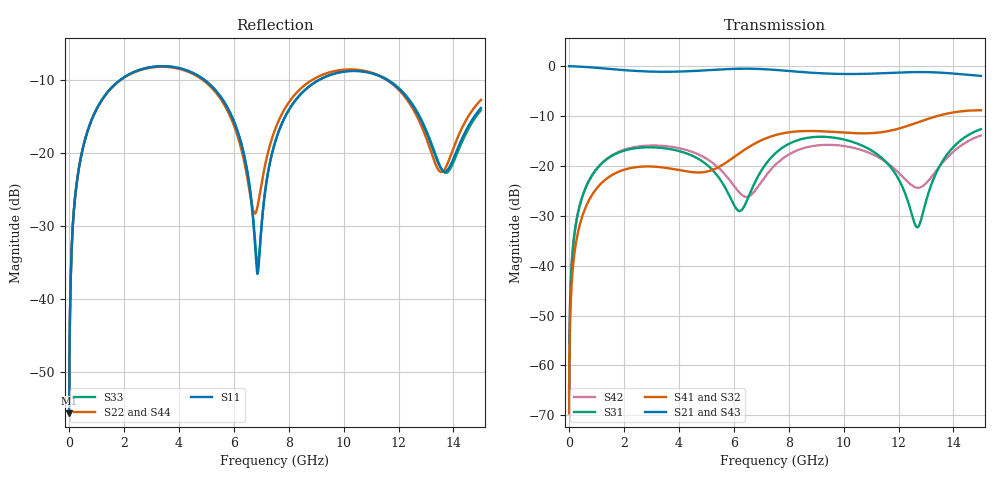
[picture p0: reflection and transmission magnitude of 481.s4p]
! Created with skrf 1.8.0 (http://scikit-rf.org).
# GHz S RI R 50.0
!freq ReS11 ImS11 ReS12 ImS12 ReS13 ImS13
! ReS14 ImS14
! ReS21 ImS21 ReS22 ImS22 ReS23 ImS23
! ReS24 ImS24
! ReS31 ImS31 ReS32 ImS32 ReS33 ImS33
! ReS34 ImS34
! ReS41 ImS41 ReS42 ImS42 ReS43 ImS43
! ReS44 ImS44
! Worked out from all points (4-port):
!   2499 points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, 5 MHz to 15 GHz, reference 50 ohm
!   strongest paths, dB at 5 MHz, 3.476 GHz, 7.19 GHz, 11.1 GHz, 15 GHz:
!     S21: 0.0, -1.1, -0.6, -1.5, -2.0
!     S43: 0.0, -1.1, -0.6, -1.5, -1.9
!     S41: -69.6, -20.4, -14.4, -13.4, -8.8
!     S32: -69.6, -20.3, -14.4, -13.4, -8.8
!     S31: -65.6, -16.5, -19.5, -17.2, -12.6
!     S42: -65.6, -16.0, -21.8, -17.8, -13.9
!   lowest |S11| = -55.6 dB at 5 MHz (marker M1), VSWR 1.00, Z = 50.1 + j0.101 ohm
!   |S11| at or under -10 dB: start of sweep to 1.845 GHz; 4.952 GHz to 9.075 GHz (4.122 GHz wide, 58.8 % of centre); 11.61 GHz to end of sweep
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0.005  0.00132 0.001  0.9987 -0.00257  6.52e-05 0.00052  -6.34e-05 -0.000326
       0.9987 -0.00257  0.00132 0.001  -6.34e-05 -0.000326  6.53e-05 0.00052
       6.52e-05 0.00052  -6.34e-05 -0.000326  0.00132 0.001  0.9987 -0.00257
       -6.34e-05 -0.000326  6.53e-05 0.00052  0.9987 -0.00257  0.00132 0.001
0.4126719  0.0254 0.0861  0.9649 -0.2096  0.0116 0.0405  -0.00998 -0.025
           0.9649 -0.2096  0.0253 0.0861  -0.00998 -0.025  0.0124 0.0403
           0.0116 0.0405  -0.00998 -0.025  0.0254 0.0861  0.9649 -0.2096
           -0.00998 -0.025  0.0124 0.0403  0.9649 -0.2096  0.0253 0.0861
2.025844  0.286 0.1725  0.5173 -0.7492  0.1277 0.0638  -0.0919 -0.000765
          0.5173 -0.7492  0.2828 0.1747  -0.0919 -0.000716  0.1373 0.0495
          0.1277 0.0638  -0.0919 -0.000716  0.2861 0.1726  0.5172 -0.7493
          -0.0919 -0.000765  0.1373 0.0495  0.5172 -0.7493  0.2829 0.1747
6.790329  0.0147 -0.0152  -0.9366 -0.0727  0.0471 0.0518  -0.0097 0.1685
          -0.9366 -0.0727  0.0388 0.00252  -0.00856 0.1684  -0.0408 0.0402
          0.0471 0.0518  -0.00856 0.1684  0.0168 -0.0163  -0.9366 -0.0727
          -0.0097 0.1685  -0.0408 0.0402  -0.9366 -0.0727  0.0369 0.00124
10.87328  0.3538 -0.0613  0.1118 0.8306  0.1095 -0.1031  0.1964 -0.0804
          0.1118 0.8306  0.354 -0.0846  0.1956 -0.0818  0.1026 -0.0911
          0.1095 -0.1031  0.1956 -0.0818  0.3548 -0.0659  0.1129 0.8296
          0.1964 -0.0804  0.1026 -0.0911  0.1129 0.8296  0.3564 -0.0818
12.68654  0.1356 -0.1302  0.711 0.5036  -0.0239 -0.00361  0.1538 -0.2245
          0.711 0.5036  0.124 -0.1266  0.152 -0.2256  -0.0566 -0.0213
          -0.0239 -0.00361  0.152 -0.2256  0.1352 -0.1365  0.7108 0.5025
          0.1538 -0.2245  -0.0566 -0.0213  0.7108 0.5025  0.1292 -0.1284
15  0.1735 0.1087  0.715 -0.3551  0.1972 0.1248  -0.2103 -0.2935
    0.715 -0.3551  0.2013 0.1161  -0.2134 -0.2919  0.1473 0.1378
    0.1972 0.1248  -0.2134 -0.2919  0.1688 0.1025  0.7153 -0.3571
    -0.2103 -0.2935  0.1473 0.1378  0.7153 -0.3571  0.2004 0.1104
